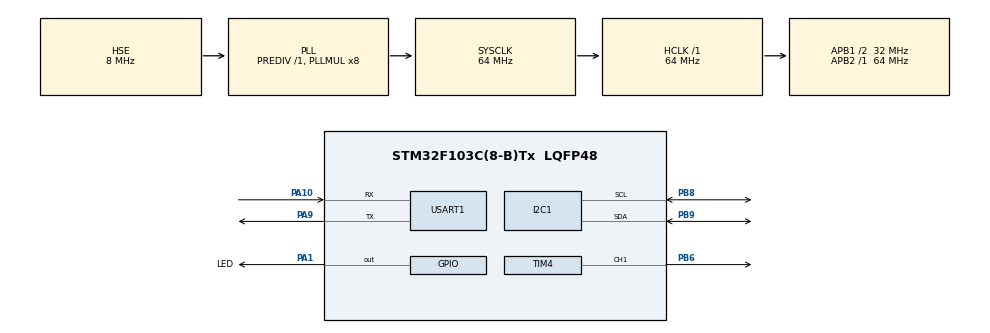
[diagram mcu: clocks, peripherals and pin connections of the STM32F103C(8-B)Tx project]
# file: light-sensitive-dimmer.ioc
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Mcu.Family=STM32F1
Mcu.Name=STM32F103C(8-B)Tx
Mcu.Package=LQFP48
NVIC.PriorityGroup=NVIC_PRIORITYGROUP_4
PA1.GPIO_Label=LED
PA1.GPIO_ModeDefaultOutputPP=GPIO_MODE_OUTPUT_OD
PA1.Signal=GPIO_Output
PA10.Mode=Asynchronous
PA10.Signal=USART1_RX
PA13.Mode=Serial_Wire
PA13.Signal=SYS_JTMS-SWDIO
PA14.Mode=Serial_Wire
PA14.Signal=SYS_JTCK-SWCLK
PA9.Mode=Asynchronous
PA9.Signal=USART1_TX
PB6.Signal=S_TIM4_CH1
PB8.Mode=I2C
PB8.Signal=I2C1_SCL
PB9.Mode=I2C
PB9.Signal=I2C1_SDA
PD0-OSC_IN.Mode=HSE-External-Oscillator
PD0-OSC_IN.Signal=RCC_OSC_IN
PD1-OSC_OUT.Mode=HSE-External-Oscillator
PD1-OSC_OUT.Signal=RCC_OSC_OUT
ProjectManager.HeapSize=0x200
ProjectManager.StackSize=0x400
ProjectManager.TargetToolchain=SW4STM32
RCC.AHBFreq_Value=64000000
RCC.APB1CLKDivider=RCC_HCLK_DIV2
RCC.APB1Freq_Value=32000000
RCC.APB1TimFreq_Value=64000000
RCC.APB2Freq_Value=64000000
RCC.APB2TimFreq_Value=64000000
RCC.HCLKFreq_Value=64000000
RCC.PLLMUL=RCC_PLL_MUL8
RCC.PLLSourceVirtual=RCC_PLLSOURCE_HSE
RCC.SYSCLKFreq_VALUE=64000000
RCC.SYSCLKSource=RCC_SYSCLKSOURCE_PLLCLK
RCC.USBFreq_Value=64000000
SH.S_TIM4_CH1.0=TIM4_CH1,PWM Generation1 CH1
TIM4.Channel-PWM\ Generation1\ CH1=TIM_CHANNEL_1
TIM4.Period=1000-1
TIM4.Prescaler=640-1
TIM4.Pulse-PWM\ Generation1\ CH1=0
USART1.VirtualMode=VM_ASYNC
board=custom

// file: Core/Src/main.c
/* USER CODE BEGIN Header */
/**
  ******************************************************************************
  * @file           : main.c
  * @brief          : Main program body
  ******************************************************************************
  * @attention
  *
  * <h2><center>&copy; Copyright (c) 2021 STMicroelectronics.
  * All rights reserved.</center></h2>
  *
  * This software component is licensed by ST under BSD 3-Clause license,
  * the "License"; You may not use this file except in compliance with the
  * License. You may obtain a copy of the License at:
  *                        opensource.org/licenses/BSD-3-Clause
  *
  ******************************************************************************
  */
/* USER CODE END Header */
#include "main.h"
#include "i2c.h"
#include "tim.h"
#include "usart.h"
#include "gpio.h"

/* USER CODE BEGIN Includes */

	#include "stdio.h"
	#include <string.h>
	#include "lcd1602_fc113_sm.h"
	#include "tm1637_sm.h"
	#include "bh1750_sm.h"

/* USER CODE END Includes */

/* USER CODE BEGIN PD */

	#define LUX_MAX	0xFFFF

/* USER CODE END PD */

void SystemClock_Config(void);

int main(void)
{

  /* MCU Configuration--------------------------------------------------------*/

  /* Reset of all peripherals, Initializes the Flash interface and the Systick. */
  HAL_Init();

  /* Configure the system clock */
  SystemClock_Config();

  /* Initialize all configured peripherals */
  MX_GPIO_Init();
  MX_USART1_UART_Init();
  MX_I2C1_Init();
  MX_TIM4_Init();
  /* USER CODE BEGIN 2 */
	char 		uart_buff_char[0xFF];
	#define 	DATE_as_int_str 	(__DATE__)
	#define 	TIME_as_int_str 	(__TIME__)

	sprintf(uart_buff_char,"Build: %s. Time: %s.\r\n" , DATE_as_int_str , TIME_as_int_str ) ;
	HAL_UART_Transmit( &huart1, (uint8_t *)uart_buff_char , strlen(uart_buff_char) , 100 ) ;

	lcd1602_fc113_struct h1_lcd1602_fc113 = {
		.i2c = &hi2c1,
		.device_i2c_address = LCD1602_I2C_ADDR
	};

	LCD1602_Init(&h1_lcd1602_fc113);
	LCD1602_scan_I2C_bus( &h1_lcd1602_fc113 ) ;
	LCD1602_Scan_I2C_to_UART( &h1_lcd1602_fc113, &huart1 ) ;
	//	HAL_Delay(1000);
	LCD1602_Clear(&h1_lcd1602_fc113);

	bh1750_struct h1_bh1750 = {
		.i2c = &hi2c1,
		.device_i2c_address = BH1750_I2C_ADDR
	};

	BH1750_init( &h1_bh1750, bh1750_one_time_h_resolutione );

	uint16_t lux_u16 = 0 ;
	BH1750_get_lux( &h1_bh1750, bh1750_one_time_h_resolutione, &lux_u16);
	sprintf(uart_buff_char,"LUS=%d\r\n" , (int)lux_u16 ) ;
	HAL_UART_Transmit( &huart1, (uint8_t *)uart_buff_char , strlen(uart_buff_char) , 100 ) ;
	uint32_t Power_PWM_u32 = 0;

	HAL_TIM_PWM_Start_IT(&htim4, TIM_CHANNEL_1);
  /* USER CODE END 2 */

  /* Infinite loop */
  /* USER CODE BEGIN WHILE */
  while (1)
  {
	HAL_GPIO_TogglePin( LED_GPIO_Port, LED_Pin ) ;

	BH1750_get_lux( &h1_bh1750, bh1750_one_time_h_resolutione, &lux_u16);
	sprintf(uart_buff_char,"Lux: %05d;" , (int)lux_u16 ) ;
	HAL_UART_Transmit( &huart1, (uint8_t *)uart_buff_char , strlen(uart_buff_char) , 100 ) ;

	sprintf( uart_buff_char, "Lux: %05d     *",  (int)lux_u16 ) ;
	LCD1602_Print_Line( &h1_lcd1602_fc113 , uart_buff_char , strlen(uart_buff_char) ) ;

	//Power_PWM_u32 = 1000 * lux_u16 / LUX_MAX ;
	Power_PWM_u32 = lux_u16 ;
	if ( Power_PWM_u32 > 1000 ) {
		Power_PWM_u32 = 1000 ;
	}
	TIM4->CCR1 = Power_PWM_u32;

	sprintf(uart_buff_char, "\t Power_PWM: %05d \r",  (int)Power_PWM_u32 ) ;
	HAL_UART_Transmit( &huart1, (uint8_t *)uart_buff_char , strlen(uart_buff_char) , 100 ) ;

	sprintf( uart_buff_char, "PWM: %05d     *",  (int)Power_PWM_u32 ) ;
	LCD1602_Print_Line( &h1_lcd1602_fc113 , uart_buff_char , strlen(uart_buff_char) ) ;

	LCD1602_Cursor_Return( &h1_lcd1602_fc113 ) ;

    /* USER CODE END WHILE */

  }
}

void SystemClock_Config(void)
{
  RCC_OscInitTypeDef RCC_OscInitStruct = {0};
  RCC_ClkInitTypeDef RCC_ClkInitStruct = {0};

  /** Initializes the RCC Oscillators according to the specified parameters
  * in the RCC_OscInitTypeDef structure.
  */
  RCC_OscInitStruct.OscillatorType = RCC_OSCILLATORTYPE_HSE;
  RCC_OscInitStruct.HSEState = RCC_HSE_ON;
  RCC_OscInitStruct.HSEPredivValue = RCC_HSE_PREDIV_DIV1;
  RCC_OscInitStruct.HSIState = RCC_HSI_ON;
  RCC_OscInitStruct.PLL.PLLState = RCC_PLL_ON;
  RCC_OscInitStruct.PLL.PLLSource = RCC_PLLSOURCE_HSE;
  RCC_OscInitStruct.PLL.PLLMUL = RCC_PLL_MUL8;
  if (HAL_RCC_OscConfig(&RCC_OscInitStruct) != HAL_OK)
  {
    Error_Handler();
  }
  /** Initializes the CPU, AHB and APB buses clocks
  */
  RCC_ClkInitStruct.ClockType = RCC_CLOCKTYPE_HCLK|RCC_CLOCKTYPE_SYSCLK
                              |RCC_CLOCKTYPE_PCLK1|RCC_CLOCKTYPE_PCLK2;
  RCC_ClkInitStruct.SYSCLKSource = RCC_SYSCLKSOURCE_PLLCLK;
  RCC_ClkInitStruct.AHBCLKDivider = RCC_SYSCLK_DIV1;
  RCC_ClkInitStruct.APB1CLKDivider = RCC_HCLK_DIV2;
  RCC_ClkInitStruct.APB2CLKDivider = RCC_HCLK_DIV1;

  if (HAL_RCC_ClockConfig(&RCC_ClkInitStruct, FLASH_LATENCY_2) != HAL_OK)
  {
    Error_Handler();
  }
}

void Error_Handler(void)
{
  __disable_irq();
  while (1)
  {
  }
}

/************************ (C) COPYRIGHT STMicroelectronics *****END OF FILE****/
